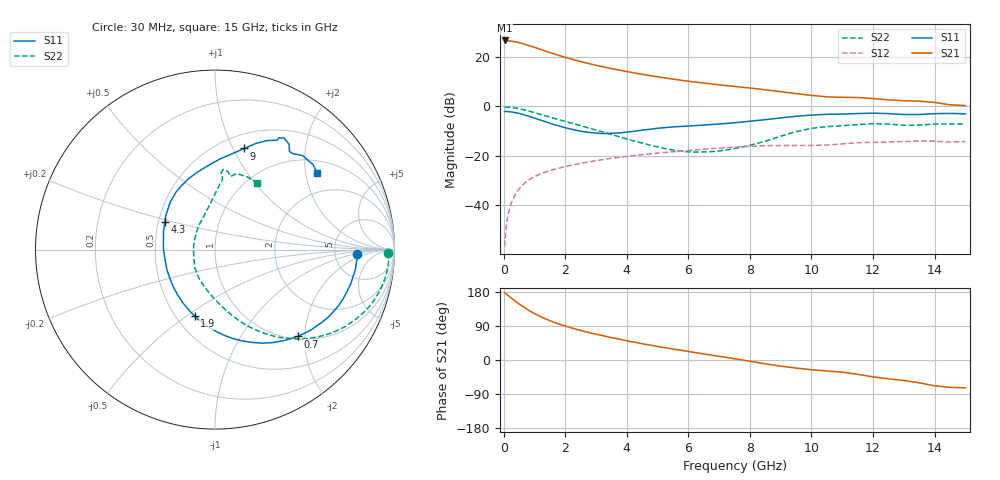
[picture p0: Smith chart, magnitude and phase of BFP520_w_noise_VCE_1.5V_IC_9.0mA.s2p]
! Infineon Technologies  Discrete & RF Semiconductors
! BFP520
! VCE =  1.5 V,  IC =  9.0 mA
! Common Emitter S-Parameters:  Oct 2015
# GHz  S  MA  R  50
!  f  S11  S21  S12  S22
! GHz  MAG  ANG  MAG  ANG  MAG  ANG  MAG  ANG
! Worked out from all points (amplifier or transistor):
!   109 points, 30 MHz to 15 GHz, reference 50 ohm
!   highest |S21| = 26.7 dB at 30 MHz (marker M1)
!   |S21| within 3 dB of that: start of sweep to 1.05 GHz
!   unconditionally stable (mu >= 1): 3.521 GHz to end of sweep
!   at 450 MHz: K = 0.20, MSG = 30.0 dB, |S12| = -34.2 dB
!   at 4 GHz: K = 1.06, MAG = 15.7 dB, |S12| = -20.1 dB
!   at 15 GHz: K = 1.31, MAG = 3.9 dB, |S12| = -14.2 dB
!   lowest NFmin = 1.47 dB at 900 MHz
!   S11 on the Smith chart (normalised r, x): 30 MHz: 8.35, -1.16; 700 MHz: 1.06, -1.84; 1.9 GHz: 0.62, -0.54; 4.3 GHz: 0.54, +0.18; 9 GHz: 0.64, +1.11; 15 GHz: 1.35, +2.32
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0.03  0.7898 -1.9  21.57 177.6  0.0015 91.3  0.9647 -1.0
0.08  0.7911 -5.5  21.42 174.4  0.0037 87.6  0.9692 -3.4
0.2  0.7807 -13.9  21.11 166.5  0.009 83.7  0.9616 -9.2
0.4  0.7454 -27.5  20.09 153.9  0.0176 77.0  0.9263 -18.3
0.6  0.696 -40.3  18.73 142.3  0.0253 71.4  0.8734 -26.6
0.7  0.6679 -46.4  17.96 136.8  0.0289 68.9  0.8433 -30.5
0.8  0.6392 -52.2  17.16 131.7  0.0321 66.5  0.8122 -34.0
1  0.5835 -63.3  15.65 122.5  0.0381 62.5  0.7499 -40.5
1.3  0.5051 -78.7  13.54 110.7  0.0458 57.7  0.662 -48.7
1.6  0.4381 -93.3  11.73 100.7  0.0525 54.0  0.5839 -55.7
1.9  0.3871 -107.1  10.27 92.2  0.0588 51.1  0.5179 -61.6
2.2  0.3469 -121.0  9.062 84.7  0.0648 48.4  0.4602 -67.1
2.6  0.3093 -139.5  7.789 75.8  0.0726 45.2  0.3929 -73.9
3.5  0.2874 -180.0  5.832 58.9  0.0896 37.8  0.2717 -91.4
4.3  0.3187 151.3  4.698 46.2  0.103 31.0  0.1955 -113.1
5.1  0.3666 131.8  3.884 34.3  0.1153 24.7  0.1474 -139.6
6  0.403 117.4  3.239 22.4  0.1293 17.7  0.121 -170.7
7.6  0.4747 93.4  2.503 2.0  0.1519 3.8  0.1448 134.0
9  0.5864 73.9  1.99 -16.2  0.1624 -9.8  0.2506 96.9
10.5  0.6935 61.5  1.564 -29.0  0.1661 -18.2  0.3913 84.0
13  0.6866 52.8  1.303 -54.2  0.1954 -38.3  0.4171 77.9
15  0.7107 36.8  1.043 -73.6  0.1952 -54.1  0.4394 57.7
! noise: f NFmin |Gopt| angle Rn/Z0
0.45  1.49  0.33  1  0.29
0.9  1.47  0.29  6  0.31
1.9  1.67  0.27  15  0.26
2.4  1.67  0.23  26  0.27
3.5  1.61  0.21  49  0.26
